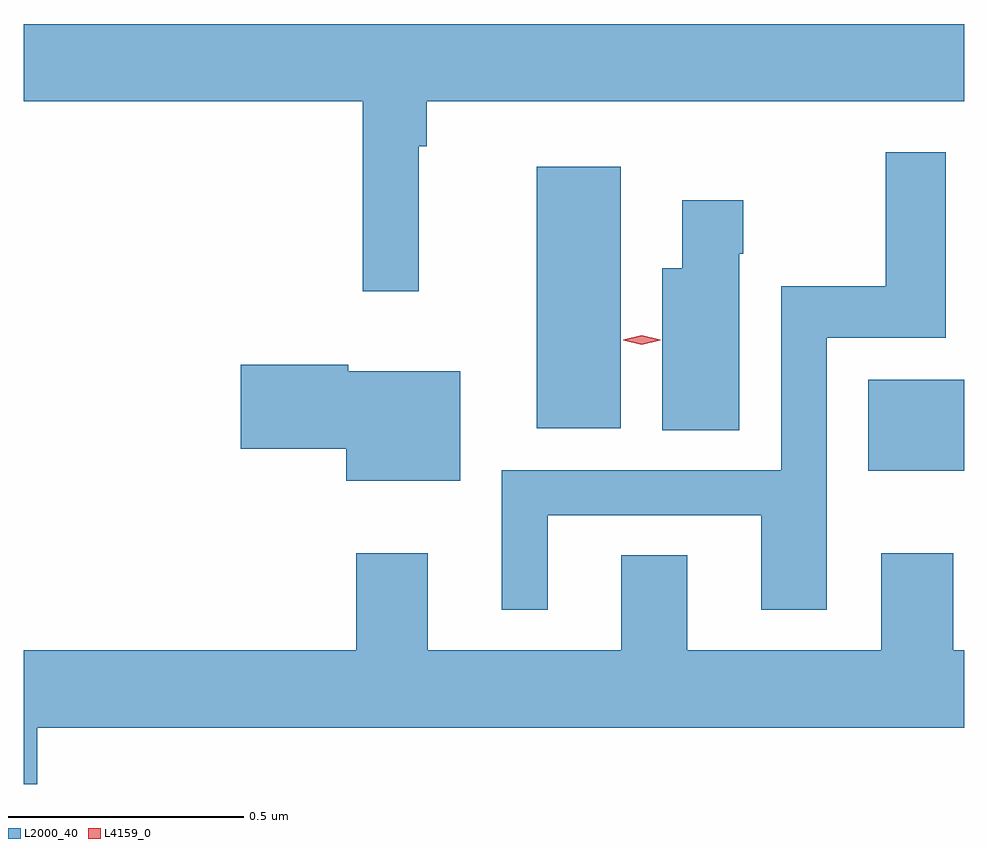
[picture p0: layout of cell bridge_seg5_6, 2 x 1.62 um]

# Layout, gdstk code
import gdstk
lib = gdstk.Library(unit=1e-6, precision=1e-09)
def R(c, l, rs):  # rectangles x0, y0, x1, y1
    for r in rs: c.add(gdstk.rectangle(r[:2], r[2:], *l))
def P(c, l, *ps):  # polygons
    for p in ps: c.add(gdstk.Polygon(p, *l))
L2000_40 = (2000, 40)
L4159_0 = (4159, 0)

bridge_seg5_6 = lib.new_cell('bridge_seg5_6')
R(bridge_seg5_6, L2000_40, [(985.868,846.65,986.072,846.844), (985.163,846.74,985.342,847.297)])
P(bridge_seg5_6, L2000_40, [(984.912,847.34),(984.929,847.34),(984.929,847.436),(986.072,847.436),(986.072,847.6),(984.072,847.6),(984.072,847.436),(984.793,847.436),(984.793,847.032),(984.912,847.032)],
  [(985.186,846.555),(985.64,846.555),(985.64,846.354),(985.779,846.354),(985.779,846.933),(986.033,846.933),(986.033,847.327),(985.905,847.327),(985.905,847.042),(985.683,847.042),(985.683,846.651),(985.088,846.651),(985.088,846.354),(985.186,846.354)],
  [(985.594,847.112),(985.602,847.112),(985.602,847.225),(985.472,847.225),(985.472,847.081),(985.43,847.081),(985.43,846.736),(985.594,846.736)],
  [(985,846.862),(984.762,846.862),(984.762,846.875),(984.534,846.875),(984.534,846.697),(984.758,846.697),(984.758,846.629),(985,846.629)],
  [(984.101,846.104),(986.072,846.104),(986.072,846.268),(986.048,846.268),(986.048,846.475),(985.895,846.475),(985.895,846.268),(985.483,846.268),(985.483,846.47),(985.343,846.47),(985.343,846.268),(984.931,846.268),(984.931,846.475),(984.779,846.475),(984.779,846.268),(984.072,846.268),(984.072,845.984),(984.101,845.984)])
P(bridge_seg5_6, L4159_0, [(985.386,846.918),(985.347,846.928),(985.347,846.928),(985.347,846.929),(985.386,846.938),(985.426,846.929),(985.426,846.928),(985.426,846.928)])

lib.write_gds('bridge_seg5_6.gds')
